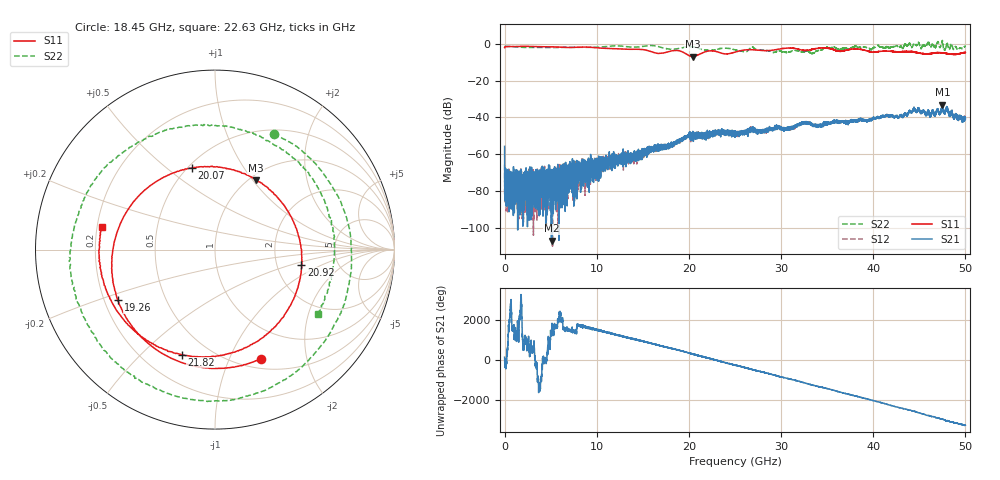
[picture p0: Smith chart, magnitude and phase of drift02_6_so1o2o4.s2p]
!Created with skrf (http://scikit-rf.org).
# Hz S RI R 50.0
!freq ReS11 ImS11 ReS21 ImS21 ReS12 ImS12 ReS22 ImS22
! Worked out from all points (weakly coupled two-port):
!   10001 points, 300 kHz to 50 GHz, reference 50 ohm
!   highest |S21| = -33.14 dB at 47.51 GHz (marker M1); lowest = -107.2 dB at 5.09 GHz (marker M2)
!   lowest |S11| = -7.0 dB at 20.4 GHz (marker M3), VSWR 2.63, Z = 53.6 + j51.9 ohm
!   |S11| at or under -10 dB: nowhere
!   |S22| runs from -5.4 to 1.9 dB; largest |S21 - S12| = 0.0043
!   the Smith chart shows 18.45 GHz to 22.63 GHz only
!   S11 on the Smith chart (normalised r, x): 18.45 GHz: 0.61, -1.31; 19.26 GHz: 0.26, -0.23; 20.07 GHz: 0.52, +0.61; 20.92 GHz: 2.76, -0.62; 21.82 GHz: 0.36, -0.67; 22.63 GHz: 0.22, +0.09
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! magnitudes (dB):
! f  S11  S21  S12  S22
! 300 kHz  -2.1  -55.8  -65.8  -1.3
! 270.3 MHz  -1.4  -77.0  -74.3  -1.4
! 5.09 GHz  -1.6  -107.2  -80.5  -2.0
! 8.335 GHz  -1.7  -78.9  -67.5  -1.9
! 16.67 GHz  -5.2  -57.0  -57.4  -1.4
! 18.45 GHz  -3.6  -54.3  -54.0  -2.9
! 19.26 GHz  -4.3  -52.0  -51.7  -2.1
! 20.07 GHz  -6.5  -50.3  -51.3  -1.5
! 20.4 GHz  -7.0  -49.6  -50.7  -1.7
! 20.92 GHz  -6.2  -48.7  -49.6  -2.2
! 21.82 GHz  -4.2  -50.4  -49.1  -3.4
! 22.63 GHz  -3.9  -48.2  -49.8  -3.4
! 25 GHz  -4.5  -48.1  -49.3  -3.3
! 26.11 GHz  -3.3  -47.8  -47.8  -4.4
! 26.9 GHz  -3.2  -46.4  -46.5  -1.6
! 33.34 GHz  -3.1  -43.8  -43.7  -5.2
! 34.92 GHz  -2.3  -43.7  -43.2  -2.1
! 41.67 GHz  -4.0  -39.1  -39.2  -2.1
! 44.38 GHz  -4.4  -35.3  -35.5  0.0
! 46.03 GHz  -5.5  -36.9  -37.1  0.7
! 47.51 GHz  -4.9  -33.1  -33.1  1.9
! 50 GHz  -4.7  -40.8  -40.0  -1.5
